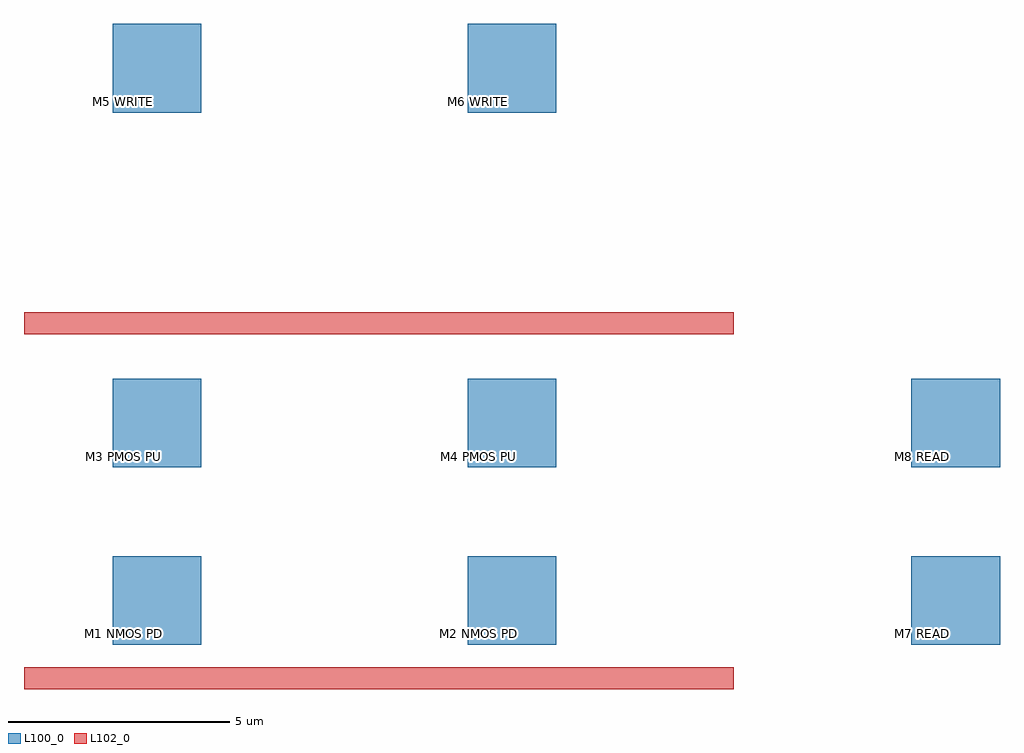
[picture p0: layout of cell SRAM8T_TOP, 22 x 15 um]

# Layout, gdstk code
import gdstk
lib = gdstk.Library(unit=1e-6, precision=1e-09)
def R(c, l, rs):  # rectangles x0, y0, x1, y1
    for r in rs: c.add(gdstk.rectangle(r[:2], r[2:], *l))
L100_0 = (100, 0)
L102_0 = (102, 0)

sram8t_top = lib.new_cell('SRAM8T_TOP')
R(sram8t_top, L100_0, [(5,5,7,7), (13,5,15,7), (23,5,25,7), (5,9,7,11), (13,9,15,11), (23,9,25,11), (5,17,7,19), (13,17,15,19)])
R(sram8t_top, L102_0, [(3,4,19,4.5), (3,12,19,12.5)])
sram8t_top.add(gdstk.Label('M1 NMOS PD', (5.25,5.25), layer=101, texttype=0))
sram8t_top.add(gdstk.Label('M3 PMOS PU', (5.25,9.25), layer=101, texttype=0))
sram8t_top.add(gdstk.Label('M2 NMOS PD', (13.25,5.25), layer=101, texttype=0))
sram8t_top.add(gdstk.Label('M4 PMOS PU', (13.25,9.25), layer=101, texttype=0))
sram8t_top.add(gdstk.Label('M5 WRITE', (5.25,17.25), layer=101, texttype=0))
sram8t_top.add(gdstk.Label('M6 WRITE', (13.25,17.25), layer=101, texttype=0))
sram8t_top.add(gdstk.Label('M7 READ', (23.25,5.25), layer=101, texttype=0))
sram8t_top.add(gdstk.Label('M8 READ', (23.25,9.25), layer=101, texttype=0))

lib.write_gds('SRAM8T_TOP.gds')
